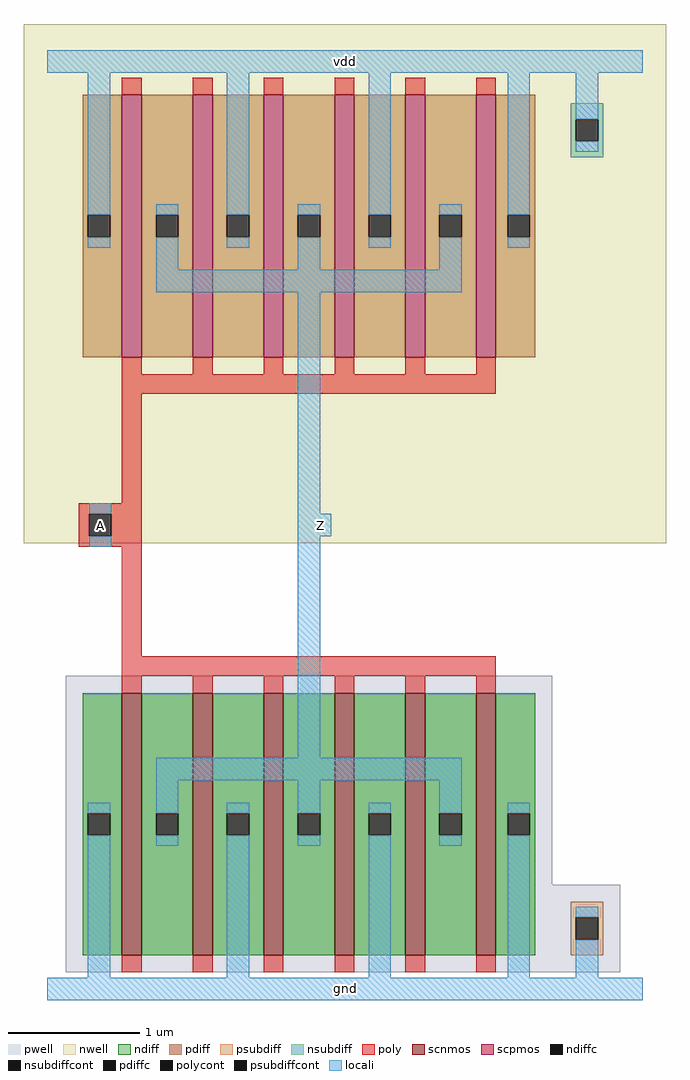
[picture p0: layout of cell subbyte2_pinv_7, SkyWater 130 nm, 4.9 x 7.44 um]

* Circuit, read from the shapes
.subckt subbyte2_pinv_7 A Z gnd vdd
XM1 Z A gnd gnd sky130_fd_pr__nfet_01v8 w=2 l=0.15 m=6
XM2 Z A vdd vdd sky130_fd_pr__pfet_01v8 w=2 l=0.15 m=6
.ends

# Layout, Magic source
magic
tech sky130A
magscale 1 2
<< nwell >>
rect -36 679 944 1471
<< pwell >>
rect 28 159 770 477
rect 28 25 874 159
<< scnmos >>
rect 114 51 144 451
rect 222 51 252 451
rect 330 51 360 451
rect 438 51 468 451
rect 546 51 576 451
rect 654 51 684 451
<< scpmos >>
rect 114 963 144 1363
rect 222 963 252 1363
rect 330 963 360 1363
rect 438 963 468 1363
rect 546 963 576 1363
rect 654 963 684 1363
<< ndiff >>
rect 54 268 114 451
rect 54 234 62 268
rect 96 234 114 268
rect 54 51 114 234
rect 144 268 222 451
rect 144 234 166 268
rect 200 234 222 268
rect 144 51 222 234
rect 252 268 330 451
rect 252 234 274 268
rect 308 234 330 268
rect 252 51 330 234
rect 360 268 438 451
rect 360 234 382 268
rect 416 234 438 268
rect 360 51 438 234
rect 468 268 546 451
rect 468 234 490 268
rect 524 234 546 268
rect 468 51 546 234
rect 576 268 654 451
rect 576 234 598 268
rect 632 234 654 268
rect 576 51 654 234
rect 684 268 744 451
rect 684 234 702 268
rect 736 234 744 268
rect 684 51 744 234
<< pdiff >>
rect 54 1180 114 1363
rect 54 1146 62 1180
rect 96 1146 114 1180
rect 54 963 114 1146
rect 144 1180 222 1363
rect 144 1146 166 1180
rect 200 1146 222 1180
rect 144 963 222 1146
rect 252 1180 330 1363
rect 252 1146 274 1180
rect 308 1146 330 1180
rect 252 963 330 1146
rect 360 1180 438 1363
rect 360 1146 382 1180
rect 416 1146 438 1180
rect 360 963 438 1146
rect 468 1180 546 1363
rect 468 1146 490 1180
rect 524 1146 546 1180
rect 468 963 546 1146
rect 576 1180 654 1363
rect 576 1146 598 1180
rect 632 1146 654 1180
rect 576 963 654 1146
rect 684 1180 744 1363
rect 684 1146 702 1180
rect 736 1146 744 1180
rect 684 963 744 1146
<< ndiffc >>
rect 62 234 96 268
rect 166 234 200 268
rect 274 234 308 268
rect 382 234 416 268
rect 490 234 524 268
rect 598 234 632 268
rect 702 234 736 268
<< pdiffc >>
rect 62 1146 96 1180
rect 166 1146 200 1180
rect 274 1146 308 1180
rect 382 1146 416 1180
rect 490 1146 524 1180
rect 598 1146 632 1180
rect 702 1146 736 1180
<< psubdiff >>
rect 798 109 848 133
rect 798 75 806 109
rect 840 75 848 109
rect 798 51 848 75
<< nsubdiff >>
rect 798 1326 848 1350
rect 798 1292 806 1326
rect 840 1292 848 1326
rect 798 1268 848 1292
<< psubdiffcont >>
rect 806 75 840 109
<< nsubdiffcont >>
rect 806 1292 840 1326
<< poly >>
rect 114 1363 144 1389
rect 222 1363 252 1389
rect 330 1363 360 1389
rect 438 1363 468 1389
rect 546 1363 576 1389
rect 654 1363 684 1389
rect 114 937 144 963
rect 222 937 252 963
rect 330 937 360 963
rect 438 937 468 963
rect 546 937 576 963
rect 654 937 684 963
rect 114 907 684 937
rect 114 740 144 907
rect 48 724 144 740
rect 48 690 64 724
rect 98 690 144 724
rect 48 674 144 690
rect 114 507 144 674
rect 114 477 684 507
rect 114 451 144 477
rect 222 451 252 477
rect 330 451 360 477
rect 438 451 468 477
rect 546 451 576 477
rect 654 451 684 477
rect 114 25 144 51
rect 222 25 252 51
rect 330 25 360 51
rect 438 25 468 51
rect 546 25 576 51
rect 654 25 684 51
<< polycont >>
rect 64 690 98 724
<< locali >>
rect 0 1397 908 1431
rect 62 1180 96 1397
rect 62 1130 96 1146
rect 166 1180 200 1196
rect 166 1096 200 1146
rect 274 1180 308 1397
rect 274 1130 308 1146
rect 382 1180 416 1196
rect 382 1096 416 1146
rect 490 1180 524 1397
rect 490 1130 524 1146
rect 598 1180 632 1196
rect 598 1096 632 1146
rect 702 1180 736 1397
rect 806 1326 840 1397
rect 806 1276 840 1292
rect 702 1130 736 1146
rect 166 1062 632 1096
rect 64 724 98 740
rect 64 674 98 690
rect 382 724 416 1062
rect 382 690 433 724
rect 382 352 416 690
rect 166 318 632 352
rect 62 268 96 284
rect 62 17 96 234
rect 166 268 200 318
rect 166 218 200 234
rect 274 268 308 284
rect 274 17 308 234
rect 382 268 416 318
rect 382 218 416 234
rect 490 268 524 284
rect 490 17 524 234
rect 598 268 632 318
rect 598 218 632 234
rect 702 268 736 284
rect 702 17 736 234
rect 806 109 840 125
rect 806 17 840 75
rect 0 -17 908 17
<< labels >>
rlabel locali s 81 707 81 707 4 A
port 1 nsew
rlabel locali s 416 707 416 707 4 Z
port 2 nsew
rlabel locali s 454 0 454 0 4 gnd
port 3 nsew
rlabel locali s 454 1414 454 1414 4 vdd
port 4 nsew
<< properties >>
string FIXED_BBOX 0 0 908 1079
<< end >>
